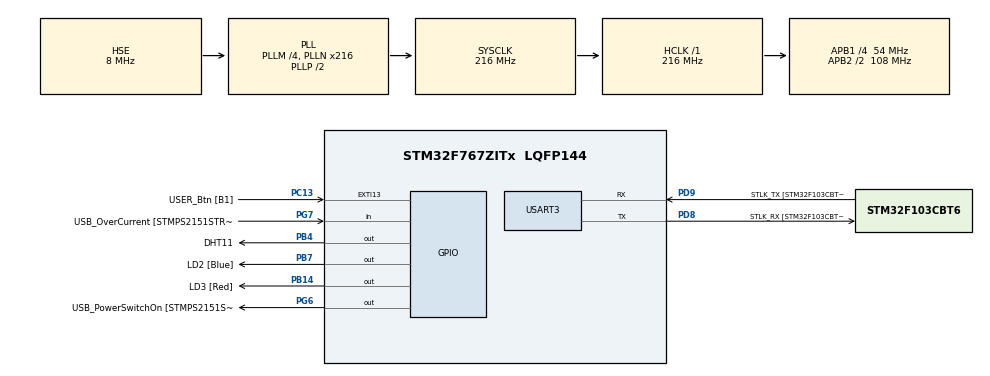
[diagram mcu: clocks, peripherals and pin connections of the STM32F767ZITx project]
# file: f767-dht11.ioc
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Mcu.Family=STM32F7
Mcu.Name=STM32F767ZITx
Mcu.Package=LQFP144
NVIC.PriorityGroup=NVIC_PRIORITYGROUP_4
PA1.GPIO_Label=RMII_REF_CLK [LAN8742A-CZ-TR_REFCLK0]
PA1.Signal=ETH_REF_CLK
PA10.GPIO_Label=USB_ID
PA10.Signal=USB_OTG_FS_ID
PA11.GPIO_Label=USB_DM
PA11.Signal=USB_OTG_FS_DM
PA12.GPIO_Label=USB_DP
PA12.Signal=USB_OTG_FS_DP
PA13.GPIO_Label=TMS
PA13.Mode=Serial_Wire
PA13.Signal=SYS_JTMS-SWDIO
PA14.GPIO_Label=TCK
PA14.Mode=Serial_Wire
PA14.Signal=SYS_JTCK-SWCLK
PA2.GPIO_Label=RMII_MDIO [LAN8742A-CZ-TR_MDIO]
PA2.Signal=ETH_MDIO
PA7.GPIO_Label=RMII_CRS_DV [LAN8742A-CZ-TR_CRS_DV]
PA7.Signal=ETH_CRS_DV
PA8.GPIO_Label=USB_SOF [TP1]
PA8.Signal=USB_OTG_FS_SOF
PA9.GPIO_Label=USB_VBUS
PA9.Signal=USB_OTG_FS_VBUS
PB13.GPIO_Label=RMII_TXD1 [LAN8742A-CZ-TR_TXD1]
PB13.Signal=ETH_TXD1
PB14.GPIO_Label=LD3 [Red]
PB14.Signal=GPIO_Output
PB3.GPIO_Label=SWO
PB3.Signal=SYS_JTDO-SWO
PB4.GPIO_Label=DHT11
PB4.Signal=GPIO_Output
PB7.GPIO_Label=LD2 [Blue]
PB7.Signal=GPIO_Output
PC1.GPIO_Label=RMII_MDC [LAN8742A-CZ-TR_MDC]
PC1.Signal=ETH_MDC
PC13.GPIO_Label=USER_Btn [B1]
PC13.Signal=GPXTI13
PC14/OSC32_IN.Mode=LSE-External-Oscillator
PC14/OSC32_IN.Signal=RCC_OSC32_IN
PC15/OSC32_OUT.Mode=LSE-External-Oscillator
PC15/OSC32_OUT.Signal=RCC_OSC32_OUT
PC4.GPIO_Label=RMII_RXD0 [LAN8742A-CZ-TR_RXD0]
PC4.Signal=ETH_RXD0
PC5.GPIO_Label=RMII_RXD1 [LAN8742A-CZ-TR_RXD1]
PC5.Signal=ETH_RXD1
PD8.GPIO_Label=STLK_RX [STM32F103CBT6_PA3]
PD8.Mode=Asynchronous
PD8.Signal=USART3_TX
PD9.GPIO_Label=STLK_TX [STM32F103CBT6_PA2]
PD9.Mode=Asynchronous
PD9.Signal=USART3_RX
PG11.GPIO_Label=RMII_TX_EN [LAN8742A-CZ-TR_TXEN]
PG11.Signal=ETH_TX_EN
PG13.GPIO_Label=RMII_TXD0 [LAN8742A-CZ-TR_TXD0]
PG13.Signal=ETH_TXD0
PG6.GPIO_Label=USB_PowerSwitchOn [STMPS2151STR_EN]
PG6.Signal=GPIO_Output
PG7.GPIO_Label=USB_OverCurrent [STMPS2151STR_FAULT]
PG7.Signal=GPIO_Input
PH0/OSC_IN.GPIO_Label=MCO [STM32F103CBT6_PA8]
PH0/OSC_IN.Mode=HSE-External-Clock-Source
PH0/OSC_IN.Signal=RCC_OSC_IN
PH1/OSC_OUT.Mode=HSE-External-Clock-Source
PH1/OSC_OUT.Signal=RCC_OSC_OUT
ProjectManager.HeapSize=0x200
ProjectManager.StackSize=0x400
ProjectManager.TargetToolchain=TrueSTUDIO
RCC.48MHZClocksFreq_Value=24000000
RCC.AHBFreq_Value=216000000
RCC.APB1CLKDivider=RCC_HCLK_DIV4
RCC.APB1Freq_Value=54000000
RCC.APB1TimFreq_Value=108000000
RCC.APB2CLKDivider=RCC_HCLK_DIV2
RCC.APB2Freq_Value=108000000
RCC.APB2TimFreq_Value=216000000
RCC.CortexFreq_Value=216000000
RCC.HCLKFreq_Value=216000000
RCC.HSE_VALUE=8000000
RCC.HSI_VALUE=16000000
RCC.PLLM=4
RCC.PLLMUL=RCC_PLL_MUL9
RCC.PLLN=216
RCC.PLLQ=9
RCC.PLLSourceVirtual=RCC_PLLSOURCE_HSE
RCC.PRESCALERUSB=RCC_USBCLKSOURCE_PLL_DIV1_5
RCC.SYSCLKFreq_VALUE=216000000
RCC.SYSCLKSource=RCC_SYSCLKSOURCE_PLLCLK
RCC.SYSCLKSourceVirtual=RCC_SYSCLKSOURCE_PLLCLK
RCC.USBFreq_Value=48000000
RCC.VCOOutputFreq_Value=432000000
TIM6.Period=65535
TIM6.Prescaler=108
USART3.VirtualMode-Asynchronous=VM_ASYNC
VP_TIM6_VS_ClockSourceINT.Mode=Enable_Timer
board=NUCLEO-F767ZI

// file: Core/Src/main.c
/* USER CODE BEGIN Header */
/**
  ******************************************************************************
  * @file           : main.c
  * @brief          : Main program body
  ******************************************************************************
  ** This notice applies to any and all portions of this file
  * that are not between comment pairs USER CODE BEGIN and
  * USER CODE END. Other portions of this file, whether
  * inserted by the user or by software development tools
  * are owned by their respective copyright owners.
  *
  * COPYRIGHT(c) 2019 STMicroelectronics
  *
  * Redistribution and use in source and binary forms, with or without modification,
  * are permitted provided that the following conditions are met:
  *   1. Redistributions of source code must retain the above copyright notice,
  *      this list of conditions and the following disclaimer.
  *   2. Redistributions in binary form must reproduce the above copyright notice,
  *      this list of conditions and the following disclaimer in the documentation
  *      and/or other materials provided with the distribution.
  *   3. Neither the name of STMicroelectronics nor the names of its contributors
  *      may be used to endorse or promote products derived from this software
  *      without specific prior written permission.
  *
  * THIS SOFTWARE IS PROVIDED BY THE COPYRIGHT HOLDERS AND CONTRIBUTORS "AS IS"
  * AND ANY EXPRESS OR IMPLIED WARRANTIES, INCLUDING, BUT NOT LIMITED TO, THE
  * IMPLIED WARRANTIES OF MERCHANTABILITY AND FITNESS FOR A PARTICULAR PURPOSE ARE
  * DISCLAIMED. IN NO EVENT SHALL THE COPYRIGHT HOLDER OR CONTRIBUTORS BE LIABLE
  * FOR ANY DIRECT, INDIRECT, INCIDENTAL, SPECIAL, EXEMPLARY, OR CONSEQUENTIAL
  * DAMAGES (INCLUDING, BUT NOT LIMITED TO, PROCUREMENT OF SUBSTITUTE GOODS OR
  * SERVICES; LOSS OF USE, DATA, OR PROFITS; OR BUSINESS INTERRUPTION) HOWEVER
  * CAUSED AND ON ANY THEORY OF LIABILITY, WHETHER IN CONTRACT, STRICT LIABILITY,
  * OR TORT (INCLUDING NEGLIGENCE OR OTHERWISE) ARISING IN ANY WAY OUT OF THE USE
  * OF THIS SOFTWARE, EVEN IF ADVISED OF THE POSSIBILITY OF SUCH DAMAGE.
  *
  ******************************************************************************
  */
/* USER CODE END Header */

#include "main.h"

TIM_HandleTypeDef htim6;

UART_HandleTypeDef huart3;

void SystemClock_Config(void);
static void MX_GPIO_Init(void);
static void MX_USART3_UART_Init(void);
static void MX_TIM6_Init(void);
/* USER CODE BEGIN PFP */
uint16_t aa;
uint8_t dhtVal[2];
char sendData[128];
/* USER CODE END PFP */

/* USER CODE BEGIN 0 */

//give microsecond delay
void mDelay(uint32_t mDelay)
{
	uint16_t initTime = (uint16_t)__HAL_TIM_GET_COUNTER(&htim6);			//get initial time
	while(((uint16_t)__HAL_TIM_GET_COUNTER(&htim6)-initTime) < mDelay){		//wait until (time now - inital time == 0)
	}
}

#define OUTPUT 1
#define INPUT 0

//set DHT pin direction with given parameter
void set_gpio_mode(uint8_t pMode)
{
	GPIO_InitTypeDef GPIO_InitStruct = {0};

	//if direction parameter OUTPUT
	if(pMode == OUTPUT)
	{
	/*Configure GPIO pins : LD3_Pin LD2_Pin */
	  GPIO_InitStruct.Pin = DHT11_Pin;
	  GPIO_InitStruct.Mode = GPIO_MODE_OUTPUT_PP;
	  GPIO_InitStruct.Pull = GPIO_NOPULL;
	  GPIO_InitStruct.Speed = GPIO_SPEED_FREQ_HIGH;
	  HAL_GPIO_Init(GPIOB, &GPIO_InitStruct);
	}else if(pMode == INPUT)   //else if direction parameter INPUT
	{
	  GPIO_InitStruct.Pin = DHT11_Pin;
	  GPIO_InitStruct.Mode = GPIO_MODE_INPUT;
	  GPIO_InitStruct.Pull = GPIO_NOPULL;
	  GPIO_InitStruct.Speed = GPIO_SPEED_FREQ_HIGH;
	  HAL_GPIO_Init(GPIOB, &GPIO_InitStruct);
	}
}

uint8_t readDHT11(uint8_t *pData)
{
	uint16_t mTime1 = 0, mTime2 = 0, mBit = 0;
	uint8_t humVal = 0, tempVal = 0, parityVal = 0, genParity = 0;
	uint8_t mData[40];

	//start comm
	set_gpio_mode(OUTPUT);			//set pin direction as input
	HAL_GPIO_WritePin(DHT11_GPIO_Port, DHT11_Pin, GPIO_PIN_RESET);
	HAL_Delay(20);					//wait 20 ms in Low state
	set_gpio_mode(INPUT);			//set pin direction as input

	//check dht answer
	__HAL_TIM_SET_COUNTER(&htim6, 0);				//set timer counter to zero
	while(HAL_GPIO_ReadPin(DHT11_GPIO_Port, DHT11_Pin) == GPIO_PIN_SET) if((uint16_t)__HAL_TIM_GET_COUNTER(&htim6) > 500) return 0;
	__HAL_TIM_SET_COUNTER(&htim6, 0);
	while(HAL_GPIO_ReadPin(DHT11_GPIO_Port, DHT11_Pin) == GPIO_PIN_RESET) if((uint16_t)__HAL_TIM_GET_COUNTER(&htim6) > 500) return 0;
	mTime1 = (uint16_t)__HAL_TIM_GET_COUNTER(&htim6);
	__HAL_TIM_SET_COUNTER(&htim6, 0);
	while(HAL_GPIO_ReadPin(DHT11_GPIO_Port, DHT11_Pin) == GPIO_PIN_SET) if((uint16_t)__HAL_TIM_GET_COUNTER(&htim6) > 500) return 0;
	mTime2 = (uint16_t)__HAL_TIM_GET_COUNTER(&htim6);

	//if answer is wrong return
	if(mTime1 < 75 && mTime1 > 85 && mTime2 < 75 && mTime2 > 85)
	{
		HAL_GPIO_TogglePin(LD3_GPIO_Port, LD3_Pin);
		return 0;
	}

	HAL_GPIO_WritePin(LD2_GPIO_Port, LD2_Pin, GPIO_PIN_SET);
	for(int j = 0; j < 40; j++)
	{
		__HAL_TIM_SET_COUNTER(&htim6, 0);
		while(HAL_GPIO_ReadPin(DHT11_GPIO_Port, DHT11_Pin) == GPIO_PIN_RESET) if((uint16_t)__HAL_TIM_GET_COUNTER(&htim6) > 500) return 0;
		__HAL_TIM_SET_COUNTER(&htim6, 0);
		while(HAL_GPIO_ReadPin(DHT11_GPIO_Port, DHT11_Pin) == GPIO_PIN_SET) if((uint16_t)__HAL_TIM_GET_COUNTER(&htim6) > 500) return 0;
		mTime1 = (uint16_t)__HAL_TIM_GET_COUNTER(&htim6);

		//check pass time in high state
		//if pass time 25uS set as LOW
		if(mTime1 > 20 && mTime1 < 30)
		{
			mBit = 0;
		}
		else if(mTime1 > 60 && mTime1 < 80) //if pass time 70 uS set as HIGH
		{
			 mBit = 1;
		}

		//set i th data in data buffer
		mData[j] = mBit;

	}

	//get hum value from data buffer
	for(int i = 0; i < 8; i++)
	{
		humVal += mData[i];
		humVal = humVal << 1;
	}

	//get temp value from data buffer
	for(int i = 16; i < 24; i++)
	{
		tempVal += mData[i];
		tempVal = tempVal << 1;
	}

	//get parity value from data buffer
	for(int i = 32; i < 40; i++)
	{
		parityVal += mData[i];
		parityVal = parityVal << 1;
	}

	parityVal = parityVal >> 1;
	humVal = humVal >> 1;
	tempVal = tempVal >> 1;

	genParity = humVal + tempVal;

	if(genParity == parityVal)

	HAL_GPIO_WritePin(LD2_GPIO_Port, LD2_Pin, GPIO_PIN_RESET);

	pData[0] = tempVal;
	pData[1] = humVal;

	return 1;
}

/* USER CODE END 0 */

int main(void)
{

  /* MCU Configuration--------------------------------------------------------*/

  /* Reset of all peripherals, Initializes the Flash interface and the Systick. */
  HAL_Init();

  /* Configure the system clock */
  SystemClock_Config();

  /* Initialize all configured peripherals */
  MX_GPIO_Init();
  MX_USART3_UART_Init();
  MX_TIM6_Init();
  /* USER CODE BEGIN 2 */
  HAL_TIM_Base_Start(&htim6);								//start timer
  /* USER CODE END 2 */

  /* Infinite loop */
  /* USER CODE BEGIN WHILE */
  while (1)
  {
	  HAL_GPIO_TogglePin(LD3_GPIO_Port, LD3_Pin);

	  if(readDHT11(dhtVal) == 1)
	  {

		  uint16_t len = sprintf(sendData, "Hum: %d Temp: %d\n\r", dhtVal[1], dhtVal[0]);

	  	  HAL_UART_Transmit(&huart3, (uint8_t*)sendData, len, 100);

	  }else{
		  uint16_t len = sprintf(sendData, "DHT Read Error!!\n\r");

		  HAL_UART_Transmit(&huart3, (uint8_t*)sendData, len, 100);
	  }

	  HAL_Delay(3000);

    /* USER CODE END WHILE */

  }
}

void SystemClock_Config(void)
{
  RCC_OscInitTypeDef RCC_OscInitStruct = {0};
  RCC_ClkInitTypeDef RCC_ClkInitStruct = {0};
  RCC_PeriphCLKInitTypeDef PeriphClkInitStruct = {0};

  /**Configure LSE Drive Capability
  */
  HAL_PWR_EnableBkUpAccess();
  /**Configure the main internal regulator output voltage
  */
  __HAL_RCC_PWR_CLK_ENABLE();
  __HAL_PWR_VOLTAGESCALING_CONFIG(PWR_REGULATOR_VOLTAGE_SCALE1);
  /**Initializes the CPU, AHB and APB busses clocks
  */
  RCC_OscInitStruct.OscillatorType = RCC_OSCILLATORTYPE_HSE;
  RCC_OscInitStruct.HSEState = RCC_HSE_BYPASS;
  RCC_OscInitStruct.PLL.PLLState = RCC_PLL_ON;
  RCC_OscInitStruct.PLL.PLLSource = RCC_PLLSOURCE_HSE;
  RCC_OscInitStruct.PLL.PLLM = 4;
  RCC_OscInitStruct.PLL.PLLN = 216;
  RCC_OscInitStruct.PLL.PLLP = RCC_PLLP_DIV2;
  RCC_OscInitStruct.PLL.PLLQ = 9;
  if (HAL_RCC_OscConfig(&RCC_OscInitStruct) != HAL_OK)
  {
    Error_Handler();
  }
  /**Activate the Over-Drive mode
  */
  if (HAL_PWREx_EnableOverDrive() != HAL_OK)
  {
    Error_Handler();
  }
  /**Initializes the CPU, AHB and APB busses clocks
  */
  RCC_ClkInitStruct.ClockType = RCC_CLOCKTYPE_HCLK|RCC_CLOCKTYPE_SYSCLK
                              |RCC_CLOCKTYPE_PCLK1|RCC_CLOCKTYPE_PCLK2;
  RCC_ClkInitStruct.SYSCLKSource = RCC_SYSCLKSOURCE_PLLCLK;
  RCC_ClkInitStruct.AHBCLKDivider = RCC_SYSCLK_DIV1;
  RCC_ClkInitStruct.APB1CLKDivider = RCC_HCLK_DIV4;
  RCC_ClkInitStruct.APB2CLKDivider = RCC_HCLK_DIV2;

  if (HAL_RCC_ClockConfig(&RCC_ClkInitStruct, FLASH_LATENCY_7) != HAL_OK)
  {
    Error_Handler();
  }
  PeriphClkInitStruct.PeriphClockSelection = RCC_PERIPHCLK_USART3;
  PeriphClkInitStruct.Usart3ClockSelection = RCC_USART3CLKSOURCE_PCLK1;
  if (HAL_RCCEx_PeriphCLKConfig(&PeriphClkInitStruct) != HAL_OK)
  {
    Error_Handler();
  }
}

static void MX_TIM6_Init(void)
{

  TIM_MasterConfigTypeDef sMasterConfig = {0};

  htim6.Instance = TIM6;
  htim6.Init.Prescaler = 108;
  htim6.Init.CounterMode = TIM_COUNTERMODE_UP;
  htim6.Init.Period = 65535;
  htim6.Init.AutoReloadPreload = TIM_AUTORELOAD_PRELOAD_DISABLE;
  if (HAL_TIM_Base_Init(&htim6) != HAL_OK)
  {
    Error_Handler();
  }
  sMasterConfig.MasterOutputTrigger = TIM_TRGO_RESET;
  sMasterConfig.MasterSlaveMode = TIM_MASTERSLAVEMODE_DISABLE;
  if (HAL_TIMEx_MasterConfigSynchronization(&htim6, &sMasterConfig) != HAL_OK)
  {
    Error_Handler();
  }

}

static void MX_USART3_UART_Init(void)
{

  huart3.Instance = USART3;
  huart3.Init.BaudRate = 115200;
  huart3.Init.WordLength = UART_WORDLENGTH_8B;
  huart3.Init.StopBits = UART_STOPBITS_1;
  huart3.Init.Parity = UART_PARITY_NONE;
  huart3.Init.Mode = UART_MODE_TX_RX;
  huart3.Init.HwFlowCtl = UART_HWCONTROL_NONE;
  huart3.Init.OverSampling = UART_OVERSAMPLING_16;
  huart3.Init.OneBitSampling = UART_ONE_BIT_SAMPLE_DISABLE;
  huart3.AdvancedInit.AdvFeatureInit = UART_ADVFEATURE_NO_INIT;
  if (HAL_UART_Init(&huart3) != HAL_OK)
  {
    Error_Handler();
  }

}

static void MX_GPIO_Init(void)
{
  GPIO_InitTypeDef GPIO_InitStruct = {0};

  /* GPIO Ports Clock Enable */
  __HAL_RCC_GPIOC_CLK_ENABLE();
  __HAL_RCC_GPIOH_CLK_ENABLE();
  __HAL_RCC_GPIOA_CLK_ENABLE();
  __HAL_RCC_GPIOB_CLK_ENABLE();
  __HAL_RCC_GPIOD_CLK_ENABLE();
  __HAL_RCC_GPIOG_CLK_ENABLE();

  /*Configure GPIO pin Output Level */
  HAL_GPIO_WritePin(GPIOB, LD3_Pin|DHT11_Pin|LD2_Pin, GPIO_PIN_RESET);

  /*Configure GPIO pin Output Level */
  HAL_GPIO_WritePin(USB_PowerSwitchOn_GPIO_Port, USB_PowerSwitchOn_Pin, GPIO_PIN_RESET);

  /*Configure GPIO pin : USER_Btn_Pin */
  GPIO_InitStruct.Pin = USER_Btn_Pin;
  GPIO_InitStruct.Mode = GPIO_MODE_IT_RISING;
  GPIO_InitStruct.Pull = GPIO_NOPULL;
  HAL_GPIO_Init(USER_Btn_GPIO_Port, &GPIO_InitStruct);

  /*Configure GPIO pins : RMII_MDC_Pin RMII_RXD0_Pin RMII_RXD1_Pin */
  GPIO_InitStruct.Pin = RMII_MDC_Pin|RMII_RXD0_Pin|RMII_RXD1_Pin;
  GPIO_InitStruct.Mode = GPIO_MODE_AF_PP;
  GPIO_InitStruct.Pull = GPIO_NOPULL;
  GPIO_InitStruct.Speed = GPIO_SPEED_FREQ_VERY_HIGH;
  GPIO_InitStruct.Alternate = GPIO_AF11_ETH;
  HAL_GPIO_Init(GPIOC, &GPIO_InitStruct);

  /*Configure GPIO pins : RMII_REF_CLK_Pin RMII_MDIO_Pin RMII_CRS_DV_Pin */
  GPIO_InitStruct.Pin = RMII_REF_CLK_Pin|RMII_MDIO_Pin|RMII_CRS_DV_Pin;
  GPIO_InitStruct.Mode = GPIO_MODE_AF_PP;
  GPIO_InitStruct.Pull = GPIO_NOPULL;
  GPIO_InitStruct.Speed = GPIO_SPEED_FREQ_VERY_HIGH;
  GPIO_InitStruct.Alternate = GPIO_AF11_ETH;
  HAL_GPIO_Init(GPIOA, &GPIO_InitStruct);

  /*Configure GPIO pin : RMII_TXD1_Pin */
  GPIO_InitStruct.Pin = RMII_TXD1_Pin;
  GPIO_InitStruct.Mode = GPIO_MODE_AF_PP;
  GPIO_InitStruct.Pull = GPIO_NOPULL;
  GPIO_InitStruct.Speed = GPIO_SPEED_FREQ_VERY_HIGH;
  GPIO_InitStruct.Alternate = GPIO_AF11_ETH;
  HAL_GPIO_Init(RMII_TXD1_GPIO_Port, &GPIO_InitStruct);

  /*Configure GPIO pins : LD3_Pin DHT11_Pin LD2_Pin */
  GPIO_InitStruct.Pin = LD3_Pin|DHT11_Pin|LD2_Pin;
  GPIO_InitStruct.Mode = GPIO_MODE_OUTPUT_PP;
  GPIO_InitStruct.Pull = GPIO_NOPULL;
  GPIO_InitStruct.Speed = GPIO_SPEED_FREQ_LOW;
  HAL_GPIO_Init(GPIOB, &GPIO_InitStruct);

  /*Configure GPIO pin : USB_PowerSwitchOn_Pin */
  GPIO_InitStruct.Pin = USB_PowerSwitchOn_Pin;
  GPIO_InitStruct.Mode = GPIO_MODE_OUTPUT_PP;
  GPIO_InitStruct.Pull = GPIO_NOPULL;
  GPIO_InitStruct.Speed = GPIO_SPEED_FREQ_LOW;
  HAL_GPIO_Init(USB_PowerSwitchOn_GPIO_Port, &GPIO_InitStruct);

  /*Configure GPIO pin : USB_OverCurrent_Pin */
  GPIO_InitStruct.Pin = USB_OverCurrent_Pin;
  GPIO_InitStruct.Mode = GPIO_MODE_INPUT;
  GPIO_InitStruct.Pull = GPIO_NOPULL;
  HAL_GPIO_Init(USB_OverCurrent_GPIO_Port, &GPIO_InitStruct);

  /*Configure GPIO pins : USB_SOF_Pin USB_ID_Pin USB_DM_Pin USB_DP_Pin */
  GPIO_InitStruct.Pin = USB_SOF_Pin|USB_ID_Pin|USB_DM_Pin|USB_DP_Pin;
  GPIO_InitStruct.Mode = GPIO_MODE_AF_PP;
  GPIO_InitStruct.Pull = GPIO_NOPULL;
  GPIO_InitStruct.Speed = GPIO_SPEED_FREQ_VERY_HIGH;
  GPIO_InitStruct.Alternate = GPIO_AF10_OTG_FS;
  HAL_GPIO_Init(GPIOA, &GPIO_InitStruct);

  /*Configure GPIO pin : USB_VBUS_Pin */
  GPIO_InitStruct.Pin = USB_VBUS_Pin;
  GPIO_InitStruct.Mode = GPIO_MODE_INPUT;
  GPIO_InitStruct.Pull = GPIO_NOPULL;
  HAL_GPIO_Init(USB_VBUS_GPIO_Port, &GPIO_InitStruct);

  /*Configure GPIO pins : RMII_TX_EN_Pin RMII_TXD0_Pin */
  GPIO_InitStruct.Pin = RMII_TX_EN_Pin|RMII_TXD0_Pin;
  GPIO_InitStruct.Mode = GPIO_MODE_AF_PP;
  GPIO_InitStruct.Pull = GPIO_NOPULL;
  GPIO_InitStruct.Speed = GPIO_SPEED_FREQ_VERY_HIGH;
  GPIO_InitStruct.Alternate = GPIO_AF11_ETH;
  HAL_GPIO_Init(GPIOG, &GPIO_InitStruct);

}

void Error_Handler(void)
{
}

/************************ (C) COPYRIGHT STMicroelectronics *****END OF FILE****/
